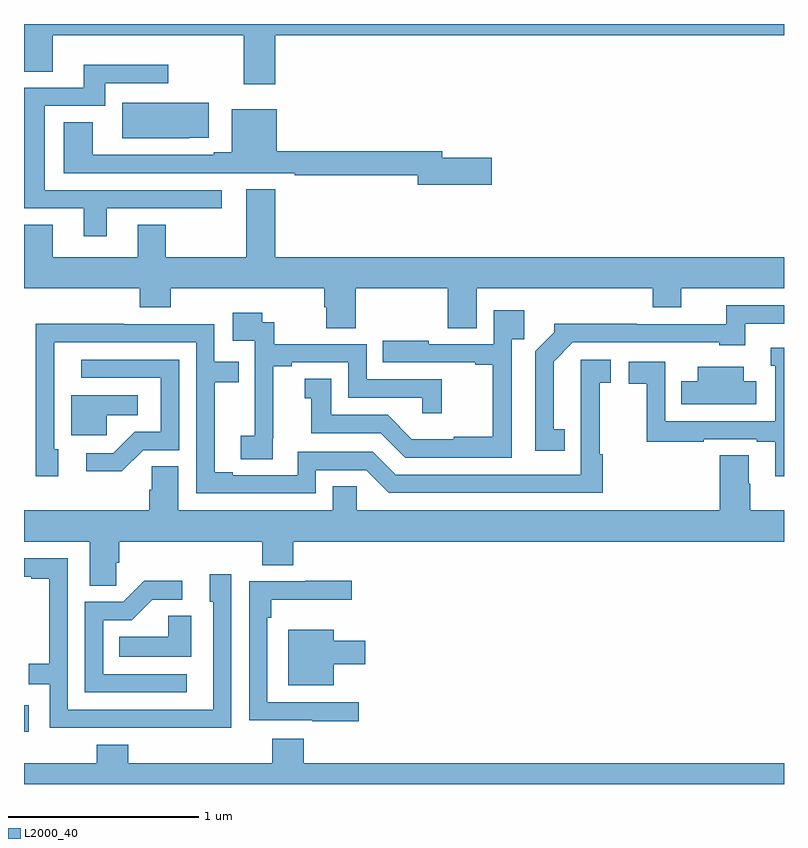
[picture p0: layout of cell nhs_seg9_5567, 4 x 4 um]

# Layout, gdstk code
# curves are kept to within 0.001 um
import gdstk
lib = gdstk.Library(unit=1e-6, precision=1e-09)
def R(c, l, rs):  # rectangles x0, y0, x1, y1
    for r in rs: c.add(gdstk.rectangle(r[:2], r[2:], *l))
def P(c, l, *ps):  # polygons
    for p in ps: c.add(gdstk.Polygon(p, *l))
L2000_40 = (2000, 40)

nhs_seg9_5567 = lib.new_cell('nhs_seg9_5567')
R(nhs_seg9_5567, L2000_40, [(435,1172.774,435.025,1172.914)])
P(nhs_seg9_5567, L2000_40, [(436.322,1176.44),(439,1176.44),(439,1176.5),(435,1176.5),(435,1176.25),(435.151,1176.25),(435.151,1176.44),(436.157,1176.44),(436.157,1176.183),(436.322,1176.183)],
  [(435.436,1175.529),(436.042,1175.529),(436.042,1175.625),(435.109,1175.625),(435.109,1176.069),(435.427,1176.069),(435.427,1176.189),(435.76,1176.189),(435.76,1176.286),(435.314,1176.286),(435.314,1176.165),(435,1176.165),(435,1175.529),(435.314,1175.529),(435.314,1175.382),(435.436,1175.382)],
  [(435.869,1175.901),(435.972,1175.901),(435.972,1176.085),(435.518,1176.085),(435.518,1175.9),(435.869,1175.9)],
  [(437.461,1175.795),(437.2,1175.795),(437.2,1175.831),(436.33,1175.831),(436.33,1176.052),(436.094,1176.052),(436.094,1175.825),(435.998,1175.825),(435.998,1175.811),(435.361,1175.811),(435.361,1175.983),(435.209,1175.983),(435.209,1175.715),(436.426,1175.715),(436.426,1175.703),(437.072,1175.703),(437.072,1175.653),(437.461,1175.653)],
  [(436.745,1175.108),(437.231,1175.108),(437.231,1174.9),(437.383,1174.9),(437.383,1175.108),(438.308,1175.108),(438.308,1175.009),(438.46,1175.009),(438.46,1175.108),(439,1175.108),(439,1175.272),(436.322,1175.272),(436.322,1175.63),(436.169,1175.63),(436.169,1175.272),(435.747,1175.272),(435.747,1175.444),(435.599,1175.444),(435.599,1175.272),(435.151,1175.272),(435.151,1175.444),(435,1175.444),(435,1175.108),(435.608,1175.108),(435.608,1175.009),(435.773,1175.009),(435.773,1175.108),(436.58,1175.108),(436.58,1175.01),(436.592,1175.01),(436.592,1174.9),(436.745,1174.9)],
  [(437.846,1174.367),(437.788,1174.367),(437.788,1174.723),(437.889,1174.824),(438.66,1174.824),(438.66,1174.808),(438.796,1174.808),(438.796,1174.923),(439,1174.923),(439,1175.019),(438.697,1175.019),(438.697,1174.92),(438.224,1174.92),(438.224,1174.922),(437.79,1174.922),(437.79,1174.877),(437.691,1174.778),(437.691,1174.254),(437.846,1174.254)],
  [(437.568,1174.841),(437.633,1174.841),(437.633,1174.993),(437.472,1174.993),(437.472,1174.815),(437.131,1174.815),(437.131,1174.834),(436.888,1174.834),(436.888,1174.719),(437.375,1174.719),(437.375,1174.707),(437.467,1174.707),(437.467,1174.327),(437.261,1174.327),(437.261,1174.315),(437.042,1174.315),(436.914,1174.443),(436.618,1174.443),(436.618,1174.634),(436.478,1174.634),(436.478,1174.531),(436.511,1174.531),(436.511,1174.347),(436.878,1174.347),(437.007,1174.218),(437.568,1174.218)],
  [(436.31,1174.321),(436.312,1174.321),(436.312,1174.699),(436.408,1174.699),(436.408,1174.719),(436.707,1174.719),(436.707,1174.533),(437.097,1174.533),(437.097,1174.452),(437.198,1174.452),(437.198,1174.629),(436.803,1174.629),(436.803,1174.815),(436.316,1174.815),(436.316,1174.929),(436.254,1174.929),(436.254,1174.981),(436.098,1174.981),(436.098,1174.833),(436.215,1174.833),(436.215,1174.529),(436.214,1174.529),(436.214,1174.332),(436.14,1174.332),(436.14,1174.21),(436.31,1174.21)],
  [(436.536,1174.152),(436.8,1174.152),(436.92,1174.032),(438.047,1174.032),(438.047,1174.235),(438.03,1174.235),(438.03,1174.611),(438.088,1174.611),(438.088,1174.732),(437.93,1174.732),(437.931,1174.128),(436.956,1174.128),(436.836,1174.248),(436.44,1174.248),(436.44,1174.125),(436.099,1174.125),(436.099,1174.14),(436.003,1174.14),(436.003,1174.614),(436.13,1174.614),(436.13,1174.722),(436.002,1174.722),(436.002,1174.92),(435.524,1174.92),(435.524,1174.922),(435.062,1174.922),(435.063,1174.119),(435.181,1174.119),(435.181,1174.263),(435.159,1174.263),(435.159,1174.824),(435.906,1174.824),(435.906,1174.029),(436.536,1174.029)],
  [(439,1174.795),(438.929,1174.795),(438.929,1174.701),(438.954,1174.701),(438.954,1174.41),(438.375,1174.41),(438.375,1174.722),(438.183,1174.722),(438.183,1174.606),(438.277,1174.606),(438.277,1174.302),(438.578,1174.302),(438.578,1174.314),(438.857,1174.314),(438.857,1174.302),(438.953,1174.302),(438.953,1174.119),(439,1174.119)],
  [(435.627,1174.257),(435.816,1174.257),(435.816,1174.734),(435.3,1174.734),(435.3,1174.638),(435.72,1174.638),(435.72,1174.353),(435.582,1174.353),(435.471,1174.242),(435.327,1174.242),(435.327,1174.145),(435.514,1174.145)],
  [(438.853,1174.621),(438.787,1174.621),(438.787,1174.696),(438.545,1174.696),(438.545,1174.621),(438.46,1174.621),(438.46,1174.499),(438.853,1174.499)],
  [(435.435,1174.442),(435.598,1174.442),(435.598,1174.546),(435.248,1174.546),(435.248,1174.335),(435.435,1174.335)],
  [(435.485,1173.664),(435.5,1173.664),(435.5,1173.776),(436.253,1173.776),(436.253,1173.652),(436.418,1173.652),(436.418,1173.776),(439,1173.776),(439,1173.94),(438.822,1173.94),(438.822,1174.079),(438.814,1174.079),(438.814,1174.229),(438.662,1174.229),(438.662,1173.94),(436.752,1173.94),(436.752,1174.067),(436.625,1174.067),(436.625,1173.94),(435.811,1173.94),(435.811,1174.172),(435.672,1174.172),(435.672,1174.049),(435.659,1174.049),(435.659,1173.94),(435,1173.94),(435,1173.776),(435.347,1173.776),(435.347,1173.544),(435.485,1173.544)],
  [(436.092,1173.604),(435.977,1173.604),(435.977,1173.459),(435.996,1173.459),(435.996,1172.892),(435.231,1172.892),(435.231,1173.687),(435,1173.687),(435,1173.591),(435.038,1173.591),(435.038,1173.579),(435.134,1173.579),(435.134,1173.133),(435.026,1173.133),(435.026,1173.024),(435.135,1173.024),(435.135,1172.796),(435.631,1172.796),(435.631,1172.795),(436.092,1172.795)],
  [(436.762,1172.931),(436.281,1172.931),(436.281,1173.374),(436.301,1173.374),(436.301,1173.47),(436.726,1173.47),(436.726,1173.571),(436.481,1173.571),(436.481,1173.567),(436.185,1173.567),(436.185,1172.835),(436.517,1172.835),(436.517,1172.831),(436.762,1172.831)],
  [(435.856,1173.078),(435.417,1173.078),(435.417,1173.363),(435.567,1173.363),(435.675,1173.471),(435.832,1173.471),(435.832,1173.569),(435.632,1173.569),(435.522,1173.459),(435.321,1173.459),(435.321,1172.982),(435.856,1172.982)],
  [(435.88,1173.386),(435.758,1173.386),(435.758,1173.274),(435.502,1173.274),(435.502,1173.17),(435.88,1173.17)],
  [(436.63,1173.131),(436.795,1173.131),(436.795,1173.253),(436.63,1173.253),(436.63,1173.313),(436.391,1173.313),(436.391,1173.02),(436.63,1173.02)],
  [(439,1172.608),(436.472,1172.608),(436.472,1172.737),(436.307,1172.737),(436.307,1172.608),(435.548,1172.608),(435.548,1172.707),(435.383,1172.707),(435.383,1172.608),(435,1172.608),(435,1172.5),(439,1172.5)])

lib.write_gds('nhs_seg9_5567.gds')
